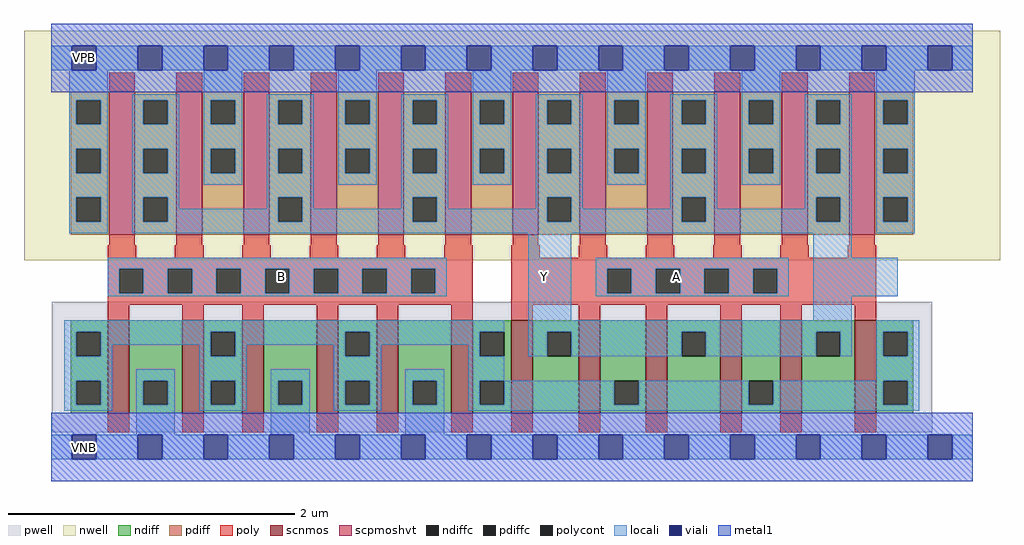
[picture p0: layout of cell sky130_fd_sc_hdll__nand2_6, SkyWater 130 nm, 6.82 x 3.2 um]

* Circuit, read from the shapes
.subckt sky130_fd_sc_hdll__nand2_6 A B VGND VNB VPB VPWR Y
XM1 VGND B n1 VNB sky130_fd_pr__nfet_01v8 w=0.65 l=0.15 m=6
XM2 Y A n1 VNB sky130_fd_pr__nfet_01v8 w=0.65 l=0.15 m=6
XM3 Y B VPWR VPB sky130_fd_pr__pfet_01v8_hvt w=1 l=0.18 m=6
XM4 Y A VPWR VPB sky130_fd_pr__pfet_01v8_hvt w=1 l=0.18 m=6
.ends

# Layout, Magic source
magic
tech sky130A
magscale 1 2
<< nwell >>
rect -38 261 1326 582
<< pwell >>
rect 1 21 1231 203
rect 30 -17 64 21
<< scnmos >>
rect 79 47 109 177
rect 183 47 213 177
rect 267 47 297 177
rect 371 47 401 177
rect 455 47 485 177
rect 559 47 589 177
rect 643 47 673 177
rect 737 47 767 177
rect 831 47 861 177
rect 935 47 965 177
rect 1019 47 1049 177
rect 1123 47 1153 177
<< scpmoshvt >>
rect 81 297 117 497
rect 175 297 211 497
rect 269 297 305 497
rect 363 297 399 497
rect 457 297 493 497
rect 551 297 587 497
rect 645 297 681 497
rect 739 297 775 497
rect 833 297 869 497
rect 927 297 963 497
rect 1021 297 1057 497
rect 1115 297 1151 497
<< ndiff >>
rect 27 161 79 177
rect 27 127 35 161
rect 69 127 79 161
rect 27 93 79 127
rect 27 59 35 93
rect 69 59 79 93
rect 27 47 79 59
rect 109 93 183 177
rect 109 59 129 93
rect 163 59 183 93
rect 109 47 183 59
rect 213 161 267 177
rect 213 127 223 161
rect 257 127 267 161
rect 213 93 267 127
rect 213 59 223 93
rect 257 59 267 93
rect 213 47 267 59
rect 297 93 371 177
rect 297 59 317 93
rect 351 59 371 93
rect 297 47 371 59
rect 401 161 455 177
rect 401 127 411 161
rect 445 127 455 161
rect 401 93 455 127
rect 401 59 411 93
rect 445 59 455 93
rect 401 47 455 59
rect 485 93 559 177
rect 485 59 505 93
rect 539 59 559 93
rect 485 47 559 59
rect 589 161 643 177
rect 589 127 599 161
rect 633 127 643 161
rect 589 93 643 127
rect 589 59 599 93
rect 633 59 643 93
rect 589 47 643 59
rect 673 161 737 177
rect 673 127 693 161
rect 727 127 737 161
rect 673 47 737 127
rect 767 93 831 177
rect 767 59 787 93
rect 821 59 831 93
rect 767 47 831 59
rect 861 161 935 177
rect 861 127 881 161
rect 915 127 935 161
rect 861 47 935 127
rect 965 93 1019 177
rect 965 59 975 93
rect 1009 59 1019 93
rect 965 47 1019 59
rect 1049 161 1123 177
rect 1049 127 1069 161
rect 1103 127 1123 161
rect 1049 47 1123 127
rect 1153 161 1205 177
rect 1153 127 1163 161
rect 1197 127 1205 161
rect 1153 93 1205 127
rect 1153 59 1163 93
rect 1197 59 1205 93
rect 1153 47 1205 59
<< pdiff >>
rect 27 485 81 497
rect 27 451 35 485
rect 69 451 81 485
rect 27 417 81 451
rect 27 383 35 417
rect 69 383 81 417
rect 27 349 81 383
rect 27 315 35 349
rect 69 315 81 349
rect 27 297 81 315
rect 117 485 175 497
rect 117 451 129 485
rect 163 451 175 485
rect 117 417 175 451
rect 117 383 129 417
rect 163 383 175 417
rect 117 349 175 383
rect 117 315 129 349
rect 163 315 175 349
rect 117 297 175 315
rect 211 485 269 497
rect 211 451 223 485
rect 257 451 269 485
rect 211 417 269 451
rect 211 383 223 417
rect 257 383 269 417
rect 211 297 269 383
rect 305 485 363 497
rect 305 451 317 485
rect 351 451 363 485
rect 305 417 363 451
rect 305 383 317 417
rect 351 383 363 417
rect 305 349 363 383
rect 305 315 317 349
rect 351 315 363 349
rect 305 297 363 315
rect 399 485 457 497
rect 399 451 411 485
rect 445 451 457 485
rect 399 417 457 451
rect 399 383 411 417
rect 445 383 457 417
rect 399 297 457 383
rect 493 485 551 497
rect 493 451 505 485
rect 539 451 551 485
rect 493 417 551 451
rect 493 383 505 417
rect 539 383 551 417
rect 493 349 551 383
rect 493 315 505 349
rect 539 315 551 349
rect 493 297 551 315
rect 587 485 645 497
rect 587 451 599 485
rect 633 451 645 485
rect 587 417 645 451
rect 587 383 599 417
rect 633 383 645 417
rect 587 297 645 383
rect 681 485 739 497
rect 681 451 693 485
rect 727 451 739 485
rect 681 417 739 451
rect 681 383 693 417
rect 727 383 739 417
rect 681 349 739 383
rect 681 315 693 349
rect 727 315 739 349
rect 681 297 739 315
rect 775 485 833 497
rect 775 451 787 485
rect 821 451 833 485
rect 775 417 833 451
rect 775 383 787 417
rect 821 383 833 417
rect 775 297 833 383
rect 869 485 927 497
rect 869 451 881 485
rect 915 451 927 485
rect 869 417 927 451
rect 869 383 881 417
rect 915 383 927 417
rect 869 349 927 383
rect 869 315 881 349
rect 915 315 927 349
rect 869 297 927 315
rect 963 485 1021 497
rect 963 451 975 485
rect 1009 451 1021 485
rect 963 417 1021 451
rect 963 383 975 417
rect 1009 383 1021 417
rect 963 297 1021 383
rect 1057 485 1115 497
rect 1057 451 1069 485
rect 1103 451 1115 485
rect 1057 417 1115 451
rect 1057 383 1069 417
rect 1103 383 1115 417
rect 1057 349 1115 383
rect 1057 315 1069 349
rect 1103 315 1115 349
rect 1057 297 1115 315
rect 1151 485 1205 497
rect 1151 451 1163 485
rect 1197 451 1205 485
rect 1151 417 1205 451
rect 1151 383 1163 417
rect 1197 383 1205 417
rect 1151 349 1205 383
rect 1151 315 1163 349
rect 1197 315 1205 349
rect 1151 297 1205 315
<< ndiffc >>
rect 35 127 69 161
rect 35 59 69 93
rect 129 59 163 93
rect 223 127 257 161
rect 223 59 257 93
rect 317 59 351 93
rect 411 127 445 161
rect 411 59 445 93
rect 505 59 539 93
rect 599 127 633 161
rect 599 59 633 93
rect 693 127 727 161
rect 787 59 821 93
rect 881 127 915 161
rect 975 59 1009 93
rect 1069 127 1103 161
rect 1163 127 1197 161
rect 1163 59 1197 93
<< pdiffc >>
rect 35 451 69 485
rect 35 383 69 417
rect 35 315 69 349
rect 129 451 163 485
rect 129 383 163 417
rect 129 315 163 349
rect 223 451 257 485
rect 223 383 257 417
rect 317 451 351 485
rect 317 383 351 417
rect 317 315 351 349
rect 411 451 445 485
rect 411 383 445 417
rect 505 451 539 485
rect 505 383 539 417
rect 505 315 539 349
rect 599 451 633 485
rect 599 383 633 417
rect 693 451 727 485
rect 693 383 727 417
rect 693 315 727 349
rect 787 451 821 485
rect 787 383 821 417
rect 881 451 915 485
rect 881 383 915 417
rect 881 315 915 349
rect 975 451 1009 485
rect 975 383 1009 417
rect 1069 451 1103 485
rect 1069 383 1103 417
rect 1069 315 1103 349
rect 1163 451 1197 485
rect 1163 383 1197 417
rect 1163 315 1197 349
<< poly >>
rect 81 497 117 523
rect 175 497 211 523
rect 269 497 305 523
rect 363 497 399 523
rect 457 497 493 523
rect 551 497 587 523
rect 645 497 681 523
rect 739 497 775 523
rect 833 497 869 523
rect 927 497 963 523
rect 1021 497 1057 523
rect 1115 497 1151 523
rect 81 282 117 297
rect 175 282 211 297
rect 269 282 305 297
rect 363 282 399 297
rect 457 282 493 297
rect 551 282 587 297
rect 645 282 681 297
rect 739 282 775 297
rect 833 282 869 297
rect 927 282 963 297
rect 1021 282 1057 297
rect 1115 282 1151 297
rect 79 265 119 282
rect 173 265 213 282
rect 267 265 307 282
rect 361 265 401 282
rect 455 265 495 282
rect 549 265 589 282
rect 79 249 589 265
rect 79 215 95 249
rect 129 215 163 249
rect 197 215 231 249
rect 265 215 299 249
rect 333 215 367 249
rect 401 215 435 249
rect 469 215 503 249
rect 537 215 589 249
rect 79 199 589 215
rect 79 177 109 199
rect 183 177 213 199
rect 267 177 297 199
rect 371 177 401 199
rect 455 177 485 199
rect 559 177 589 199
rect 643 265 683 282
rect 737 265 777 282
rect 831 265 871 282
rect 925 265 965 282
rect 1019 265 1059 282
rect 1113 265 1153 282
rect 643 249 1153 265
rect 643 215 777 249
rect 811 215 845 249
rect 879 215 913 249
rect 947 215 981 249
rect 1015 215 1153 249
rect 643 199 1153 215
rect 643 177 673 199
rect 737 177 767 199
rect 831 177 861 199
rect 935 177 965 199
rect 1019 177 1049 199
rect 1123 177 1153 199
rect 79 21 109 47
rect 183 21 213 47
rect 267 21 297 47
rect 371 21 401 47
rect 455 21 485 47
rect 559 21 589 47
rect 643 21 673 47
rect 737 21 767 47
rect 831 21 861 47
rect 935 21 965 47
rect 1019 21 1049 47
rect 1123 21 1153 47
<< polycont >>
rect 95 215 129 249
rect 163 215 197 249
rect 231 215 265 249
rect 299 215 333 249
rect 367 215 401 249
rect 435 215 469 249
rect 503 215 537 249
rect 777 215 811 249
rect 845 215 879 249
rect 913 215 947 249
rect 981 215 1015 249
<< locali >>
rect 0 527 29 561
rect 63 527 121 561
rect 155 527 213 561
rect 247 527 305 561
rect 339 527 397 561
rect 431 527 489 561
rect 523 527 581 561
rect 615 527 673 561
rect 707 527 765 561
rect 799 527 857 561
rect 891 527 949 561
rect 983 527 1041 561
rect 1075 527 1133 561
rect 1167 527 1225 561
rect 1259 527 1288 561
rect 25 485 79 527
rect 25 451 35 485
rect 69 451 79 485
rect 25 417 79 451
rect 25 383 35 417
rect 69 383 79 417
rect 25 349 79 383
rect 25 315 35 349
rect 69 315 79 349
rect 25 299 79 315
rect 113 485 179 493
rect 113 451 129 485
rect 163 451 179 485
rect 113 417 179 451
rect 113 383 129 417
rect 163 383 179 417
rect 113 349 179 383
rect 213 485 267 527
rect 213 451 223 485
rect 257 451 267 485
rect 213 417 267 451
rect 213 383 223 417
rect 257 383 267 417
rect 213 367 267 383
rect 301 485 367 493
rect 301 451 317 485
rect 351 451 367 485
rect 301 417 367 451
rect 301 383 317 417
rect 351 383 367 417
rect 113 315 129 349
rect 163 333 179 349
rect 301 349 367 383
rect 401 485 455 527
rect 401 451 411 485
rect 445 451 455 485
rect 401 417 455 451
rect 401 383 411 417
rect 445 383 455 417
rect 401 367 455 383
rect 489 485 555 493
rect 489 451 505 485
rect 539 451 555 485
rect 489 417 555 451
rect 489 383 505 417
rect 539 383 555 417
rect 301 333 317 349
rect 163 315 317 333
rect 351 333 367 349
rect 489 349 555 383
rect 589 485 643 527
rect 589 451 599 485
rect 633 451 643 485
rect 589 417 643 451
rect 589 383 599 417
rect 633 383 643 417
rect 589 367 643 383
rect 677 485 743 493
rect 677 451 693 485
rect 727 451 743 485
rect 677 417 743 451
rect 677 383 693 417
rect 727 383 743 417
rect 489 333 505 349
rect 351 315 505 333
rect 539 333 555 349
rect 677 349 743 383
rect 777 485 831 527
rect 777 451 787 485
rect 821 451 831 485
rect 777 417 831 451
rect 777 383 787 417
rect 821 383 831 417
rect 777 367 831 383
rect 865 485 931 493
rect 865 451 881 485
rect 915 451 931 485
rect 865 417 931 451
rect 865 383 881 417
rect 915 383 931 417
rect 677 333 693 349
rect 539 315 693 333
rect 727 333 743 349
rect 865 349 931 383
rect 965 485 1019 527
rect 965 451 975 485
rect 1009 451 1019 485
rect 965 417 1019 451
rect 965 383 975 417
rect 1009 383 1019 417
rect 965 367 1019 383
rect 1053 485 1119 493
rect 1053 451 1069 485
rect 1103 451 1119 485
rect 1053 417 1119 451
rect 1053 383 1069 417
rect 1103 383 1119 417
rect 865 333 881 349
rect 727 315 881 333
rect 915 333 931 349
rect 1053 349 1119 383
rect 1053 333 1069 349
rect 915 315 1069 333
rect 1103 315 1119 349
rect 113 299 1119 315
rect 1153 485 1207 527
rect 1153 451 1163 485
rect 1197 451 1207 485
rect 1153 417 1207 451
rect 1153 383 1163 417
rect 1197 383 1207 417
rect 1153 349 1207 383
rect 1153 315 1163 349
rect 1197 315 1207 349
rect 1153 299 1207 315
rect 79 249 553 265
rect 79 215 95 249
rect 129 215 163 249
rect 197 215 231 249
rect 265 215 299 249
rect 333 215 367 249
rect 401 215 435 249
rect 469 215 503 249
rect 537 215 553 249
rect 79 211 553 215
rect 667 177 727 299
rect 1065 265 1119 299
rect 761 249 1031 265
rect 761 215 777 249
rect 811 215 845 249
rect 879 215 913 249
rect 947 215 981 249
rect 1015 215 1031 249
rect 761 211 1031 215
rect 1065 211 1183 265
rect 1065 177 1119 211
rect 18 161 633 177
rect 18 127 35 161
rect 69 143 223 161
rect 69 127 85 143
rect 18 93 85 127
rect 207 127 223 143
rect 257 143 411 161
rect 257 127 273 143
rect 18 59 35 93
rect 69 59 85 93
rect 18 51 85 59
rect 119 93 173 109
rect 119 59 129 93
rect 163 59 173 93
rect 119 17 173 59
rect 207 93 273 127
rect 395 127 411 143
rect 445 143 599 161
rect 445 127 461 143
rect 207 59 223 93
rect 257 59 273 93
rect 207 51 273 59
rect 307 93 361 109
rect 307 59 317 93
rect 351 59 361 93
rect 307 17 361 59
rect 395 93 461 127
rect 583 127 599 143
rect 667 161 1119 177
rect 667 127 693 161
rect 727 127 881 161
rect 915 127 1069 161
rect 1103 127 1119 161
rect 1153 161 1213 177
rect 1153 127 1163 161
rect 1197 127 1213 161
rect 395 59 411 93
rect 445 59 461 93
rect 395 51 461 59
rect 495 93 549 109
rect 495 59 505 93
rect 539 59 549 93
rect 495 17 549 59
rect 583 93 633 127
rect 1153 93 1213 127
rect 583 59 599 93
rect 633 59 787 93
rect 821 59 975 93
rect 1009 59 1163 93
rect 1197 59 1213 93
rect 583 51 1213 59
rect 0 -17 29 17
rect 63 -17 121 17
rect 155 -17 213 17
rect 247 -17 305 17
rect 339 -17 397 17
rect 431 -17 489 17
rect 523 -17 581 17
rect 615 -17 673 17
rect 707 -17 765 17
rect 799 -17 857 17
rect 891 -17 949 17
rect 983 -17 1041 17
rect 1075 -17 1133 17
rect 1167 -17 1225 17
rect 1259 -17 1288 17
<< viali >>
rect 29 527 63 561
rect 121 527 155 561
rect 213 527 247 561
rect 305 527 339 561
rect 397 527 431 561
rect 489 527 523 561
rect 581 527 615 561
rect 673 527 707 561
rect 765 527 799 561
rect 857 527 891 561
rect 949 527 983 561
rect 1041 527 1075 561
rect 1133 527 1167 561
rect 1225 527 1259 561
rect 29 -17 63 17
rect 121 -17 155 17
rect 213 -17 247 17
rect 305 -17 339 17
rect 397 -17 431 17
rect 489 -17 523 17
rect 581 -17 615 17
rect 673 -17 707 17
rect 765 -17 799 17
rect 857 -17 891 17
rect 949 -17 983 17
rect 1041 -17 1075 17
rect 1133 -17 1167 17
rect 1225 -17 1259 17
<< metal1 >>
rect 0 561 1288 592
rect 0 527 29 561
rect 63 527 121 561
rect 155 527 213 561
rect 247 527 305 561
rect 339 527 397 561
rect 431 527 489 561
rect 523 527 581 561
rect 615 527 673 561
rect 707 527 765 561
rect 799 527 857 561
rect 891 527 949 561
rect 983 527 1041 561
rect 1075 527 1133 561
rect 1167 527 1225 561
rect 1259 527 1288 561
rect 0 496 1288 527
rect 0 17 1288 48
rect 0 -17 29 17
rect 63 -17 121 17
rect 155 -17 213 17
rect 247 -17 305 17
rect 339 -17 397 17
rect 431 -17 489 17
rect 523 -17 581 17
rect 615 -17 673 17
rect 707 -17 765 17
rect 799 -17 857 17
rect 891 -17 949 17
rect 983 -17 1041 17
rect 1075 -17 1133 17
rect 1167 -17 1225 17
rect 1259 -17 1288 17
rect 0 -48 1288 -17
<< labels >>
flabel locali s 673 221 707 255 0 FreeSans 250 0 0 0 Y
port 7 nsew signal output
flabel locali s 857 221 891 255 0 FreeSans 250 0 0 0 A
port 1 nsew signal input
flabel locali s 305 221 339 255 0 FreeSans 250 0 0 0 B
port 2 nsew signal input
flabel nwell s 30 527 64 561 0 FreeSans 200 0 0 0 VPB
port 5 nsew power bidirectional
flabel pwell s 30 -17 64 17 0 FreeSans 200 0 0 0 VNB
port 4 nsew ground bidirectional
flabel metal1 s 30 -17 64 17 0 FreeSans 200 0 0 0 VGND
port 3 nsew ground bidirectional
flabel metal1 s 30 527 64 561 0 FreeSans 200 0 0 0 VPWR
port 6 nsew power bidirectional
rlabel comment s 0 0 0 0 4 nand2_6
<< properties >>
string LEFsite unithd
string LEFclass CORE
string FIXED_BBOX 0 0 1288 544
string GDS_FILE $PDKPATH/libs.ref/sky130_fd_sc_hdll/gds/sky130_fd_sc_hdll.gds
string LEFsymmetry X Y R90
string GDS_END 3477896
string GDS_START 3468160
string LEFproperties maskLayoutSubType "abstract" prCellType "standard" originalViewName "layout"
<< end >>
